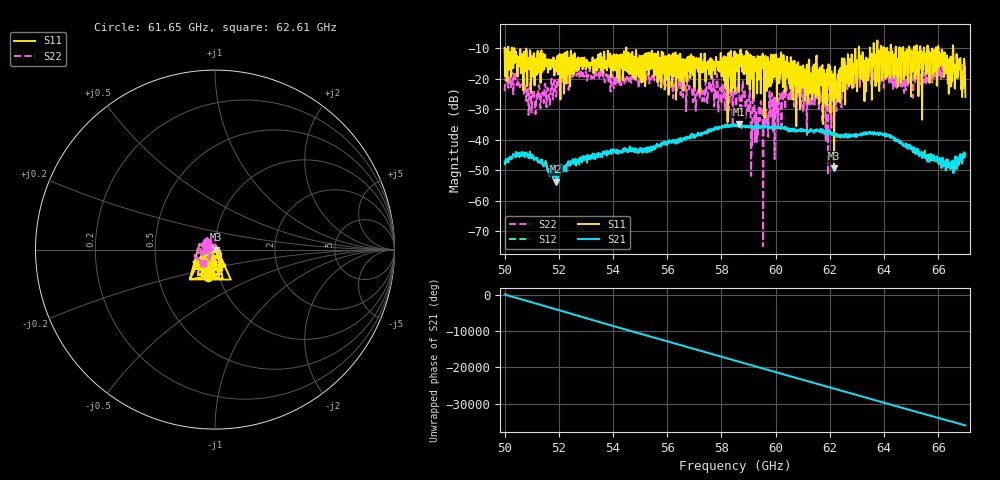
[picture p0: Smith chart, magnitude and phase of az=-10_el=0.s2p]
!Created with skrf (http://scikit-rf.org).
# GHz S RI R 50.0
!freq ReS11 ImS11 ReS21 ImS21 ReS12 ImS12 ReS22 ImS22
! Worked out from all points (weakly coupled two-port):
!   1001 points, 50 GHz to 67 GHz, reference 50 ohm
!   highest |S21| = -34.80 dB at 58.65 GHz (marker M1); lowest = -53.8 dB at 51.9 GHz (marker M2)
!   lowest |S11| = -49.3 dB at 62.16 GHz (marker M3), VSWR 1.01, Z = 50.3 - j0.00788 ohm
!   |S11| at or under -10 dB: 50.36 GHz to 54.49 GHz (4.13 GHz wide, 7.88 % of centre); 54.49 GHz to 63.07 GHz (8.582 GHz wide, 14.6 % of centre); 66.01 GHz to 66.54 GHz (531.8 MHz wide, 0.802 % of centre) (the widest 3 of 27)
!   |S22| runs from -74.9 to -13.9 dB; largest |S21 - S12| = 0.0021
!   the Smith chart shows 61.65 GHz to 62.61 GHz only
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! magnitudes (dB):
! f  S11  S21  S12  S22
! 50 GHz  -9.8  -47.5  -47.5  -24.1
! 50.42 GHz  -13.4  -44.0  -44.1  -21.4
! 51.07 GHz  -11.8  -46.1  -46.3  -23.7
! 51.9 GHz  -14.4  -53.8  -53.1  -25.9
! 52.84 GHz  -13.9  -46.0  -46.9  -19.2
! 55.68 GHz  -13.4  -42.0  -41.9  -22.4
! 58.5 GHz  -24.2  -34.9  -35.5  -23.9
! 58.65 GHz  -15.1  -34.8  -35.1  -23.7
! 59.06 GHz  -12.0  -36.0  -36.0  -25.9
! 59.44 GHz  -12.7  -35.8  -36.1  -31.6
! 59.61 GHz  -12.6  -35.9  -36.1  -36.3
! 59.84 GHz  -12.0  -35.9  -35.9  -25.5
! 60.03 GHz  -14.8  -36.0  -36.0  -31.2
! 60.34 GHz  -14.3  -36.2  -36.1  -25.4
! 61.34 GHz  -26.7  -37.2  -36.9  -25.9
! 61.88 GHz  -28.9  -37.7  -37.7  -23.2
! 62.16 GHz  -49.3  -38.3  -37.9  -28.9
! 63.01 GHz  -24.1  -38.4  -38.4  -19.9
! 64.18 GHz  -18.5  -38.4  -38.5  -18.5
! 66.08 GHz  -15.1  -46.7  -47.3  -15.7
! 66.75 GHz  -17.2  -45.8  -46.7  -18.5
! 67 GHz  -25.9  -44.7  -46.0  -15.7
